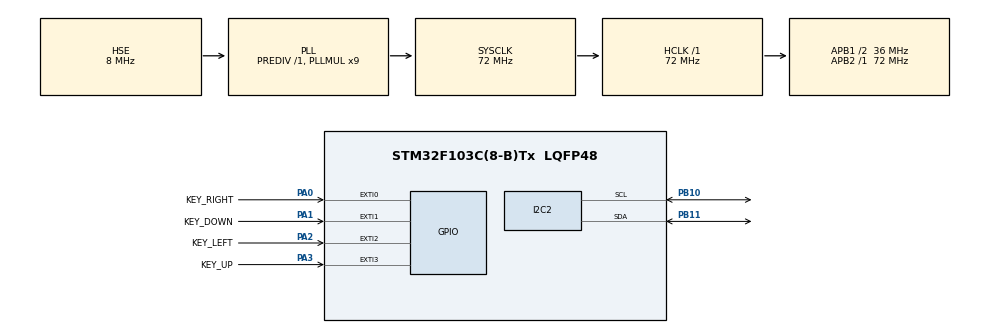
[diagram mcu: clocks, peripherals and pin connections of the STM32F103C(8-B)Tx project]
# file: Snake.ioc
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I2C2.I2C_Mode=I2C_Fast
Mcu.Family=STM32F1
Mcu.Name=STM32F103C(8-B)Tx
Mcu.Package=LQFP48
NVIC.EXTI0_IRQn=true\:2\:0\:true\:false\:true\:true\:true\:true
NVIC.EXTI1_IRQn=true\:2\:0\:true\:false\:true\:true\:true\:true
NVIC.EXTI2_IRQn=true\:2\:0\:true\:false\:true\:true\:true\:true
NVIC.EXTI3_IRQn=true\:2\:0\:true\:false\:true\:true\:true\:true
NVIC.PriorityGroup=NVIC_PRIORITYGROUP_4
NVIC.TIM4_IRQn=true\:1\:0\:true\:false\:true\:true\:true\:true
PA0-WKUP.GPIO_Label=KEY_RIGHT
PA0-WKUP.GPIO_ModeDefaultEXTI=GPIO_MODE_IT_FALLING
PA0-WKUP.GPIO_PuPd=GPIO_PULLUP
PA0-WKUP.Signal=GPXTI0
PA1.GPIO_Label=KEY_DOWN
PA1.GPIO_ModeDefaultEXTI=GPIO_MODE_IT_FALLING
PA1.GPIO_PuPd=GPIO_PULLUP
PA1.Signal=GPXTI1
PA13.Mode=Serial_Wire
PA13.Signal=SYS_JTMS-SWDIO
PA14.Mode=Serial_Wire
PA14.Signal=SYS_JTCK-SWCLK
PA2.GPIO_Label=KEY_LEFT
PA2.GPIO_ModeDefaultEXTI=GPIO_MODE_IT_FALLING
PA2.GPIO_PuPd=GPIO_PULLUP
PA2.Signal=GPXTI2
PA3.GPIO_Label=KEY_UP
PA3.GPIO_ModeDefaultEXTI=GPIO_MODE_IT_FALLING
PA3.GPIO_PuPd=GPIO_PULLUP
PA3.Signal=GPXTI3
PB10.Mode=I2C
PB10.Signal=I2C2_SCL
PB11.Mode=I2C
PB11.Signal=I2C2_SDA
PD0-OSC_IN.Mode=HSE-External-Oscillator
PD0-OSC_IN.Signal=RCC_OSC_IN
PD1-OSC_OUT.Mode=HSE-External-Oscillator
PD1-OSC_OUT.Signal=RCC_OSC_OUT
ProjectManager.HeapSize=0x200
ProjectManager.StackSize=0x400
ProjectManager.TargetToolchain=STM32CubeIDE
RCC.AHBFreq_Value=72000000
RCC.APB1CLKDivider=RCC_HCLK_DIV2
RCC.APB1Freq_Value=36000000
RCC.APB1TimFreq_Value=72000000
RCC.APB2Freq_Value=72000000
RCC.APB2TimFreq_Value=72000000
RCC.HCLKFreq_Value=72000000
RCC.PLLMUL=RCC_PLL_MUL9
RCC.PLLSourceVirtual=RCC_PLLSOURCE_HSE
RCC.SYSCLKFreq_VALUE=72000000
RCC.SYSCLKSource=RCC_SYSCLKSOURCE_PLLCLK
RCC.USBFreq_Value=72000000
TIM3.AutoReloadPreload=TIM_AUTORELOAD_PRELOAD_ENABLE
TIM3.Prescaler=720-1
TIM4.Period=2500-1
TIM4.Prescaler=7200-1
VP_TIM3_VS_ClockSourceINT.Mode=Internal
VP_TIM4_VS_ClockSourceINT.Mode=Internal
board=custom

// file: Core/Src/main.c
/* USER CODE BEGIN Header */
/**
  ******************************************************************************
  * @file           : main.c
  * @brief          : Main program body
  ******************************************************************************
  * @attention
  *
  * Copyright (c) 2024 STMicroelectronics.
  * All rights reserved.
  *
  * This software is licensed under terms that can be found in the LICENSE file
  * in the root directory of this software component.
  * If no LICENSE file comes with this software, it is provided AS-IS.
  *
  ******************************************************************************
  */
/* USER CODE END Header */
#include "main.h"
#include "i2c.h"
#include "tim.h"
#include "gpio.h"

/* USER CODE BEGIN Includes */
#include <stdlib.h>
#include "snake.h"
/* USER CODE END Includes */

void SystemClock_Config(void);

/* USER CODE BEGIN 0 */
//按键中断回调
void HAL_GPIO_EXTI_Callback(uint16_t GPIO_Pin)
{
  switch (GPIO_Pin) {
    case KEY_UP_Pin:
      ChangeDirection(UP);
    break;
    case KEY_DOWN_Pin:
      ChangeDirection(DOWN);
    break;
    case KEY_LEFT_Pin:
      ChangeDirection(LEFT);
    break;
    case KEY_RIGHT_Pin:
      ChangeDirection(RIGHT);
    break;
    default:
      break;
  }
}
//计时器更新回调，用来刷新游戏
void HAL_TIM_PeriodElapsedCallback(TIM_HandleTypeDef *htim)
{
  UpdateSnake();
  PrintData();
}

/* USER CODE END 0 */

int main(void)
{

  /* MCU Configuration--------------------------------------------------------*/

  /* Reset of all peripherals, Initializes the Flash interface and the Systick. */
  HAL_Init();

  /* Configure the system clock */
  SystemClock_Config();

  /* Initialize all configured peripherals */
  MX_GPIO_Init();
  MX_I2C2_Init();
  MX_TIM4_Init();
  MX_TIM3_Init();
  /* USER CODE BEGIN 2 */
  HAL_TIM_Base_Start_IT(&htim4);//游戏更新的定时器，中断模式
  HAL_TIM_Base_Start(&htim3);//打开定时器，用于给食物生成随机数

  HAL_Delay(20);//等待OLED上电
  CreateMap();//生成地图
  InitSnake();//初始化蛇
  /* USER CODE END 2 */

  /* Infinite loop */
  /* USER CODE BEGIN WHILE */
  while (1)
  {
    //啥也不干，等待中断
    /* USER CODE END WHILE */

  }
}

void SystemClock_Config(void)
{
  RCC_OscInitTypeDef RCC_OscInitStruct = {0};
  RCC_ClkInitTypeDef RCC_ClkInitStruct = {0};

  /** Initializes the RCC Oscillators according to the specified parameters
  * in the RCC_OscInitTypeDef structure.
  */
  RCC_OscInitStruct.OscillatorType = RCC_OSCILLATORTYPE_HSE;
  RCC_OscInitStruct.HSEState = RCC_HSE_ON;
  RCC_OscInitStruct.HSEPredivValue = RCC_HSE_PREDIV_DIV1;
  RCC_OscInitStruct.HSIState = RCC_HSI_ON;
  RCC_OscInitStruct.PLL.PLLState = RCC_PLL_ON;
  RCC_OscInitStruct.PLL.PLLSource = RCC_PLLSOURCE_HSE;
  RCC_OscInitStruct.PLL.PLLMUL = RCC_PLL_MUL9;
  if (HAL_RCC_OscConfig(&RCC_OscInitStruct) != HAL_OK)
  {
    Error_Handler();
  }

  /** Initializes the CPU, AHB and APB buses clocks
  */
  RCC_ClkInitStruct.ClockType = RCC_CLOCKTYPE_HCLK|RCC_CLOCKTYPE_SYSCLK
                              |RCC_CLOCKTYPE_PCLK1|RCC_CLOCKTYPE_PCLK2;
  RCC_ClkInitStruct.SYSCLKSource = RCC_SYSCLKSOURCE_PLLCLK;
  RCC_ClkInitStruct.AHBCLKDivider = RCC_SYSCLK_DIV1;
  RCC_ClkInitStruct.APB1CLKDivider = RCC_HCLK_DIV2;
  RCC_ClkInitStruct.APB2CLKDivider = RCC_HCLK_DIV1;

  if (HAL_RCC_ClockConfig(&RCC_ClkInitStruct, FLASH_LATENCY_2) != HAL_OK)
  {
    Error_Handler();
  }
}

void Error_Handler(void)
{
  __disable_irq();
  while (1)
  {
  }
}
